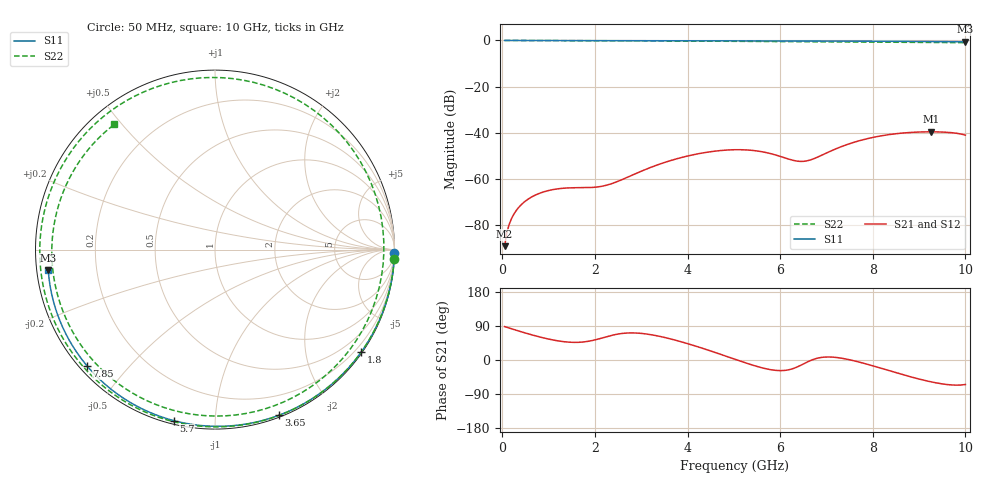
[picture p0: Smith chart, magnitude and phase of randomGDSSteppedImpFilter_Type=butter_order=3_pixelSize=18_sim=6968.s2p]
! freq	dB(S11)	phase(S11)	dB(S12)	phase(S12)
!  dB(S21)	phase(S21)	dB(S22)	phase(S22)
!S-par simulation data
#  GHz  S  DB  R 50
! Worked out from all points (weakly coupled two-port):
!   200 points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, 50 MHz to 10 GHz, reference 50 ohm
!   highest |S21| = -39.52 dB at 9.25 GHz (marker M1); lowest = -89.0 dB at 50 MHz (marker M2)
!   lowest |S11| = -0.6 dB at 10 GHz (marker M3), VSWR 30.30, Z = 1.66 - j3.1 ohm
!   |S11| at or under -10 dB: nowhere
!   |S22| runs from -1.0 to 0.0 dB; largest |S21 - S12| = 0
!   S11 on the Smith chart (normalised r, x): 50 MHz: open; 1.8 GHz: 0.03, -3.17; 3.65 GHz: 0.02, -1.46; 5.7 GHz: 0.02, -0.79; 7.85 GHz: 0.02, -0.39; 10 GHz: 0.03, -0.06
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0.05  -0.00 -1.0  -89.00 88.1  -89.00 88.1  -0.00 -2.9
0.15  -0.00 -3.0  -79.49 84.2  -79.49 84.2  -0.01 -8.7
0.4  -0.01 -7.9  -71.24 74.8  -71.24 74.8  -0.03 -23.0
0.7  -0.02 -13.8  -67.02 64.3  -67.02 64.3  -0.05 -40.0
1.25  -0.03 -24.5  -64.06 49.6  -64.06 49.6  -0.09 -70.2
1.75  -0.04 -34.1  -63.70 47.5  -63.70 47.5  -0.11 -96.3
1.8  -0.04 -35.0  -63.69 48.3  -63.69 48.3  -0.12 -98.8
2.65  -0.07 -50.9  -59.65 70.8  -59.65 70.8  -0.16 -140.9
3.4  -0.09 -64.5  -53.48 62.4  -53.48 62.4  -0.20 -178.0
3.65  -0.09 -68.9  -51.87 55.2  -51.87 55.2  -0.22 169.1
4.3  -0.11 -80.2  -48.76 31.9  -48.76 31.9  -0.28 133.0
4.7  -0.13 -87.0  -47.65 15.6  -47.65 15.6  -0.33 108.1
5.05  -0.14 -92.9  -47.26 0.8  -47.26 0.8  -0.37 84.3
5.35  -0.16 -97.8  -47.47 -11.4  -47.47 -11.4  -0.42 62.3
5.7  -0.17 -103.6  -48.51 -23.3  -48.51 -23.3  -0.47 35.1
6.2  -0.20 -111.6  -51.42 -25.4  -51.42 -25.4  -0.54 -5.1
6.7  -0.23 -119.6  -51.37 0.8  -51.37 0.8  -0.59 -44.0
7.25  -0.27 -128.3  -46.50 6.1  -46.50 6.1  -0.64 -82.8
7.85  -0.33 -137.8  -42.64 -10.2  -42.64 -10.2  -0.70 -119.9
8.35  -0.37 -145.7  -40.73 -27.9  -40.73 -27.9  -0.76 -147.6
9.25  -0.47 -160.2  -39.52 -57.4  -39.52 -57.4  -0.85 166.6
10  -0.57 -172.9  -40.98 -64.7  -40.98 -64.7  -0.96 128.7
